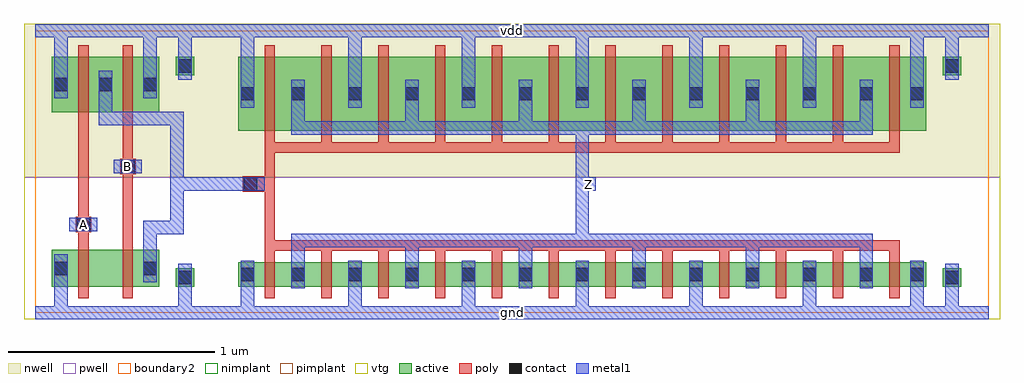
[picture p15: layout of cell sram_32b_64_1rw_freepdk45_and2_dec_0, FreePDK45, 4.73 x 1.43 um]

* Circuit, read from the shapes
.subckt sram_32b_64_1rw_freepdk45_and2_dec_0 A B Z gnd vdd
M1 sram_32b_64_1rw_freepdk45_pnand2_0/sram_32b_64_1rw_freepdk45_nmos_m1_w0_180_sm1_dactive_2/D A gnd gnd nfet w=0.18u l=0.05u
M2 sram_32b_64_1rw_freepdk45_pinv_0_1/A B sram_32b_64_1rw_freepdk45_pnand2_0/sram_32b_64_1rw_freepdk45_nmos_m1_w0_180_sm1_dactive_2/D gnd nfet w=0.18u l=0.05u
M3 Z sram_32b_64_1rw_freepdk45_pinv_0_1/A gnd gnd nfet w=0.12u l=0.05u m=12
M4 sram_32b_64_1rw_freepdk45_pinv_0_1/A A vdd vdd pfet w=0.27u l=0.05u
M5 vdd B sram_32b_64_1rw_freepdk45_pinv_0_1/A vdd pfet w=0.27u l=0.05u
M6 Z sram_32b_64_1rw_freepdk45_pinv_0_1/A vdd vdd pfet w=0.36u l=0.05u m=12
.ends

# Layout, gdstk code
import gdstk
lib = gdstk.Library(unit=1e-6, precision=5e-10)
def R(c, l, rs):  # rectangles x0, y0, x1, y1
    for r in rs: c.add(gdstk.rectangle(r[:2], r[2:], *l))
def A(c, l, x, y, w, h, nx, ny, dx, dy):  # array of equal rectangles
    R(c, l, [(x+i*dx, y+j*dy, x+i*dx+w, y+j*dy+h) for i in range(nx) for j in range(ny)])
active = (1, 0)
pwell = (2, 0)
nwell = (3, 0)
nimplant = (4, 0)
pimplant = (5, 0)
vtg = (6, 0)
poly = (9, 0)
contact = (10, 0)
metal1 = (11, 0)
boundary2 = (239, 0)

sram_32b_64_1rw_freepdk4 = lib.new_cell('sram_32b_64_1rw_freepdk45_contact_11')
R(sram_32b_64_1rw_freepdk4, active, [(0,0.0225,0.09,0.1125)])
R(sram_32b_64_1rw_freepdk4, nwell, [(-0.055,-0.0325,0.145,0.1675)])
R(sram_32b_64_1rw_freepdk4, pimplant, [(0,0.0225,0.09,0.1125)])
R(sram_32b_64_1rw_freepdk4, contact, [(0.0125,0.035,0.0775,0.1)])
R(sram_32b_64_1rw_freepdk4, metal1, [(0.0125,0,0.0775,0.135)])
R(sram_32b_64_1rw_freepdk4, boundary2, [(-0.055,-0.0325,0.145,0.1675)])

c_sram_32b_64_1rw_freepdk4 = lib.new_cell('sram_32b_64_1rw_freepdk45_pmos_m1_w0_270_sm1_dm1')
R(c_sram_32b_64_1rw_freepdk4, active, [(0,0,0.305,0.27)])
R(c_sram_32b_64_1rw_freepdk4, nwell, [(-0.08,-0.08,0.385,0.35)])
R(c_sram_32b_64_1rw_freepdk4, pimplant, [(0,0,0.305,0.27)])
R(c_sram_32b_64_1rw_freepdk4, vtg, [(-0.08,-0.08,0.385,0.35)])
R(c_sram_32b_64_1rw_freepdk4, poly, [(0.1275,-0.055,0.1775,0.325), (0.1275,-0.055,0.1775,0.325)])
R(c_sram_32b_64_1rw_freepdk4, metal1, [(0.0125,0.0675,0.0775,0.2025), (0.2275,0.0675,0.2925,0.2025)])
R(c_sram_32b_64_1rw_freepdk4, boundary2, [(-0.08,-0.08,0.385,0.35)])
c_sram_32b_64_1rw_freepdk4.add(gdstk.Reference(sram_32b_64_1rw_freepdk4, (0,0.0675)))
c_sram_32b_64_1rw_freepdk4.add(gdstk.Reference(sram_32b_64_1rw_freepdk4, (0.215,0.0675)))
c_sram_32b_64_1rw_freepdk4.add(gdstk.Label('G', (0.1525,0.135), layer=9, texttype=0))
c_sram_32b_64_1rw_freepdk4.add(gdstk.Label('S', (0.045,0.135), layer=11, texttype=0))
c_sram_32b_64_1rw_freepdk4.add(gdstk.Label('D', (0.26,0.135), layer=11, texttype=0))

c_sram_32b_64_1rw_freepdk4_ = lib.new_cell('sram_32b_64_1rw_freepdk45_contact_10')
R(c_sram_32b_64_1rw_freepdk4_, active, [(0,0.0225,0.09,0.1125)])
R(c_sram_32b_64_1rw_freepdk4_, pwell, [(-0.055,-0.0325,0.145,0.1675)])
R(c_sram_32b_64_1rw_freepdk4_, nimplant, [(0,0.0225,0.09,0.1125)])
R(c_sram_32b_64_1rw_freepdk4_, contact, [(0.0125,0.035,0.0775,0.1)])
R(c_sram_32b_64_1rw_freepdk4_, metal1, [(0.0125,0,0.0775,0.135)])
R(c_sram_32b_64_1rw_freepdk4_, boundary2, [(-0.055,-0.0325,0.145,0.1675)])

c_sram_32b_64_1rw_freepdk4__ = lib.new_cell('sram_32b_64_1rw_freepdk45_nmos_m1_w0_180_sm1_dactive')
R(c_sram_32b_64_1rw_freepdk4__, active, [(0,0,0.305,0.18), (0.215,0.045,0.305,0.135)])
R(c_sram_32b_64_1rw_freepdk4__, pwell, [(-0.08,-0.08,0.385,0.26)])
R(c_sram_32b_64_1rw_freepdk4__, nimplant, [(0,0,0.305,0.18)])
R(c_sram_32b_64_1rw_freepdk4__, vtg, [(-0.08,-0.08,0.385,0.26)])
R(c_sram_32b_64_1rw_freepdk4__, poly, [(0.1275,-0.055,0.1775,0.235), (0.1275,-0.055,0.1775,0.235)])
R(c_sram_32b_64_1rw_freepdk4__, metal1, [(0.0125,0.0225,0.0775,0.1575)])
R(c_sram_32b_64_1rw_freepdk4__, boundary2, [(-0.08,-0.08,0.385,0.26)])
c_sram_32b_64_1rw_freepdk4__.add(gdstk.Reference(c_sram_32b_64_1rw_freepdk4_, (0,0.0225)))
c_sram_32b_64_1rw_freepdk4__.add(gdstk.Label('G', (0.1525,0.09), layer=9, texttype=0))
c_sram_32b_64_1rw_freepdk4__.add(gdstk.Label('S', (0.045,0.09), layer=11, texttype=0))
c_sram_32b_64_1rw_freepdk4__.add(gdstk.Label('D', (0.26,0.09), layer=1, texttype=0))

c_sram_32b_64_1rw_freepdk4___ = lib.new_cell('sram_32b_64_1rw_freepdk45_nmos_m1_w0_180_sactive_dm1')
R(c_sram_32b_64_1rw_freepdk4___, active, [(0,0,0.305,0.18), (0,0.045,0.09,0.135)])
R(c_sram_32b_64_1rw_freepdk4___, pwell, [(-0.08,-0.08,0.385,0.26)])
R(c_sram_32b_64_1rw_freepdk4___, nimplant, [(0,0,0.305,0.18)])
R(c_sram_32b_64_1rw_freepdk4___, vtg, [(-0.08,-0.08,0.385,0.26)])
R(c_sram_32b_64_1rw_freepdk4___, poly, [(0.1275,-0.055,0.1775,0.235), (0.1275,-0.055,0.1775,0.235)])
R(c_sram_32b_64_1rw_freepdk4___, metal1, [(0.2275,0.0225,0.2925,0.1575)])
R(c_sram_32b_64_1rw_freepdk4___, boundary2, [(-0.08,-0.08,0.385,0.26)])
c_sram_32b_64_1rw_freepdk4___.add(gdstk.Reference(c_sram_32b_64_1rw_freepdk4_, (0.215,0.0225)))
c_sram_32b_64_1rw_freepdk4___.add(gdstk.Label('G', (0.1525,0.09), layer=9, texttype=0))
c_sram_32b_64_1rw_freepdk4___.add(gdstk.Label('S', (0.045,0.09), layer=1, texttype=0))
c_sram_32b_64_1rw_freepdk4___.add(gdstk.Label('D', (0.26,0.09), layer=11, texttype=0))

c_sram_32b_64_1rw_freepdk4____ = lib.new_cell('sram_32b_64_1rw_freepdk45_contact_12')
R(c_sram_32b_64_1rw_freepdk4____, active, [(0,0.0225,0.09,0.1125)])
R(c_sram_32b_64_1rw_freepdk4____, nwell, [(-0.055,-0.0325,0.145,0.1675)])
R(c_sram_32b_64_1rw_freepdk4____, nimplant, [(0,0.0225,0.09,0.1125)])
R(c_sram_32b_64_1rw_freepdk4____, contact, [(0.0125,0.035,0.0775,0.1)])
R(c_sram_32b_64_1rw_freepdk4____, metal1, [(0.0125,0,0.0775,0.135)])
R(c_sram_32b_64_1rw_freepdk4____, boundary2, [(-0.055,-0.0325,0.145,0.1675)])

c_sram_32b_64_1rw_freepdk4_____ = lib.new_cell('sram_32b_64_1rw_freepdk45_contact_13')
R(c_sram_32b_64_1rw_freepdk4_____, active, [(0,0.0225,0.09,0.1125)])
R(c_sram_32b_64_1rw_freepdk4_____, pwell, [(-0.055,-0.0325,0.145,0.1675)])
R(c_sram_32b_64_1rw_freepdk4_____, pimplant, [(0,0.0225,0.09,0.1125)])
R(c_sram_32b_64_1rw_freepdk4_____, contact, [(0.0125,0.035,0.0775,0.1)])
R(c_sram_32b_64_1rw_freepdk4_____, metal1, [(0.0125,0,0.0775,0.135)])
R(c_sram_32b_64_1rw_freepdk4_____, boundary2, [(-0.055,-0.0325,0.145,0.1675)])

c_sram_32b_64_1rw_freepdk4______ = lib.new_cell('sram_32b_64_1rw_freepdk45_contact_14')
R(c_sram_32b_64_1rw_freepdk4______, poly, [(0.03,0,0.105,0.075)])
R(c_sram_32b_64_1rw_freepdk4______, contact, [(0.035,0.005,0.1,0.07)])
R(c_sram_32b_64_1rw_freepdk4______, metal1, [(0,0.005,0.135,0.07)])
R(c_sram_32b_64_1rw_freepdk4______, boundary2, [(0,0,0.135,0.075)])

c_sram_32b_64_1rw_freepdk4_______ = lib.new_cell('sram_32b_64_1rw_freepdk45_pnand2')
R(c_sram_32b_64_1rw_freepdk4_______, pwell, [(-0.055,-0.0325,0.9575,0.655)])
R(c_sram_32b_64_1rw_freepdk4_______, nwell, [(-0.055,0.655,0.9575,1.4)])
R(c_sram_32b_64_1rw_freepdk4_______, vtg, [(-0.055,-0.0325,0.9575,0.655), (-0.055,0.655,0.9575,1.4)])
R(c_sram_32b_64_1rw_freepdk4_______, poly, [(0.2075,0.36,0.2575,0.915), (0.4225,0.36,0.4725,0.915), (0.2075,0.39,0.2325,0.465), (0.4225,0.67,0.4475,0.745)])
R(c_sram_32b_64_1rw_freepdk4_______, metal1, [(0,-0.0325,0.9025,0.0325), (0.0925,-0.0325,0.1575,0.1475), (0.6925,0,0.7575,0.17), (0.5225,0.2825,0.5875,0.4125), (0.5225,0.38,0.5875,0.445), (0.555,0.38,0.685,0.445), (0.6525,0.38,0.7175,0.445), (0.165,0.395,0.3,0.46), (0.6525,0.4125,0.7175,0.94), (0.38,0.675,0.515,0.74), (0.3075,0.9075,0.3725,0.9725), (0.34,0.9075,0.685,0.9725), (0.6525,0.9075,0.7175,0.9725), (0.3075,0.94,0.3725,1.0375), (0.0925,1.0375,0.1575,1.3975), (0.5225,1.0375,0.5875,1.3975), (0.6925,1.195,0.7575,1.365), (0,1.3325,0.9025,1.3975)])
R(c_sram_32b_64_1rw_freepdk4_______, boundary2, [(0,0,0.9025,1.365), (0,0,0.9025,1.365)])
c_sram_32b_64_1rw_freepdk4_______.add(gdstk.Reference(c_sram_32b_64_1rw_freepdk4, (0.08,0.97)))
c_sram_32b_64_1rw_freepdk4_______.add(gdstk.Reference(c_sram_32b_64_1rw_freepdk4, (0.295,0.97)))
c_sram_32b_64_1rw_freepdk4_______.add(gdstk.Reference(c_sram_32b_64_1rw_freepdk4__, (0.08,0.125)))
c_sram_32b_64_1rw_freepdk4_______.add(gdstk.Reference(c_sram_32b_64_1rw_freepdk4___, (0.295,0.125)))
c_sram_32b_64_1rw_freepdk4_______.add(gdstk.Reference(c_sram_32b_64_1rw_freepdk4____, (0.68,1.1275)))
c_sram_32b_64_1rw_freepdk4_______.add(gdstk.Reference(c_sram_32b_64_1rw_freepdk4_____, (0.68,0.1025)))
c_sram_32b_64_1rw_freepdk4_______.add(gdstk.Reference(c_sram_32b_64_1rw_freepdk4______, (0.165,0.39)))
c_sram_32b_64_1rw_freepdk4_______.add(gdstk.Reference(c_sram_32b_64_1rw_freepdk4______, (0.38,0.67)))
c_sram_32b_64_1rw_freepdk4_______.add(gdstk.Label('Z', (0.685,0.94), layer=11, texttype=0))
c_sram_32b_64_1rw_freepdk4_______.add(gdstk.Label('gnd', (0.451,0), layer=11, texttype=0))
c_sram_32b_64_1rw_freepdk4_______.add(gdstk.Label('vdd', (0.451,1.365), layer=11, texttype=0))
c_sram_32b_64_1rw_freepdk4_______.add(gdstk.Label('A', (0.2325,0.4275), layer=11, texttype=0))
c_sram_32b_64_1rw_freepdk4_______.add(gdstk.Label('B', (0.4475,0.7075), layer=11, texttype=0))

c_sram_32b_64_1rw_freepdk4________ = lib.new_cell('sram_32b_64_1rw_freepdk45_pmos_m12_w0_360_sm1_dm1_da_p')
R(c_sram_32b_64_1rw_freepdk4________, active, [(0,0,3.33,0.36)])
R(c_sram_32b_64_1rw_freepdk4________, nwell, [(-0.08,-0.08,3.41,0.44)])
R(c_sram_32b_64_1rw_freepdk4________, pimplant, [(0,0,3.33,0.36)])
R(c_sram_32b_64_1rw_freepdk4________, vtg, [(-0.08,-0.08,3.41,0.44)])
A(c_sram_32b_64_1rw_freepdk4________, poly, 0.1275, -0.055, 0.05, 0.47, 12, 1, 0.275, 0)
R(c_sram_32b_64_1rw_freepdk4________, poly, [(0.1275,-0.105,3.2025,-0.055)])
A(c_sram_32b_64_1rw_freepdk4________, metal1, 0.2575, 0.015, 0.065, 0.165, 6, 1, 0.55, 0)
A(c_sram_32b_64_1rw_freepdk4________, metal1, 0.5325, 0.1125, 0.065, 0.135, 5, 1, 0.55, 0)
R(c_sram_32b_64_1rw_freepdk4________, metal1, [(0.2575,-0.0175,3.0725,0.0475), (0.0125,0.1125,0.0775,0.2475), (3.2525,0.1125,3.3175,0.2475)])
R(c_sram_32b_64_1rw_freepdk4________, boundary2, [(-0.08,-0.105,3.41,0.44)])
c_sram_32b_64_1rw_freepdk4________.add(gdstk.Reference(sram_32b_64_1rw_freepdk4, (0,0.1125)))
c_sram_32b_64_1rw_freepdk4________.add(gdstk.Reference(sram_32b_64_1rw_freepdk4, (0.245,0.1125)))
c_sram_32b_64_1rw_freepdk4________.add(gdstk.Reference(sram_32b_64_1rw_freepdk4, (0.52,0.1125)))
c_sram_32b_64_1rw_freepdk4________.add(gdstk.Reference(sram_32b_64_1rw_freepdk4, (0.795,0.1125)))
c_sram_32b_64_1rw_freepdk4________.add(gdstk.Reference(sram_32b_64_1rw_freepdk4, (1.07,0.1125)))
c_sram_32b_64_1rw_freepdk4________.add(gdstk.Reference(sram_32b_64_1rw_freepdk4, (1.345,0.1125)))
c_sram_32b_64_1rw_freepdk4________.add(gdstk.Reference(sram_32b_64_1rw_freepdk4, (1.62,0.1125)))
c_sram_32b_64_1rw_freepdk4________.add(gdstk.Reference(sram_32b_64_1rw_freepdk4, (1.895,0.1125)))
c_sram_32b_64_1rw_freepdk4________.add(gdstk.Reference(sram_32b_64_1rw_freepdk4, (2.17,0.1125)))
c_sram_32b_64_1rw_freepdk4________.add(gdstk.Reference(sram_32b_64_1rw_freepdk4, (2.445,0.1125)))
c_sram_32b_64_1rw_freepdk4________.add(gdstk.Reference(sram_32b_64_1rw_freepdk4, (2.72,0.1125)))
c_sram_32b_64_1rw_freepdk4________.add(gdstk.Reference(sram_32b_64_1rw_freepdk4, (2.995,0.1125)))
c_sram_32b_64_1rw_freepdk4________.add(gdstk.Reference(sram_32b_64_1rw_freepdk4, (3.24,0.1125)))
c_sram_32b_64_1rw_freepdk4________.add(gdstk.Label('G', (1.665,-0.08), layer=9, texttype=0))
c_sram_32b_64_1rw_freepdk4________.add(gdstk.Label('S', (2.765,0.18), layer=11, texttype=0))
c_sram_32b_64_1rw_freepdk4________.add(gdstk.Label('S', (3.285,0.18), layer=11, texttype=0))
c_sram_32b_64_1rw_freepdk4________.add(gdstk.Label('S', (1.665,0.18), layer=11, texttype=0))
c_sram_32b_64_1rw_freepdk4________.add(gdstk.Label('S', (1.115,0.18), layer=11, texttype=0))
c_sram_32b_64_1rw_freepdk4________.add(gdstk.Label('S', (2.215,0.18), layer=11, texttype=0))
c_sram_32b_64_1rw_freepdk4________.add(gdstk.Label('S', (0.565,0.18), layer=11, texttype=0))
c_sram_32b_64_1rw_freepdk4________.add(gdstk.Label('S', (0.045,0.18), layer=11, texttype=0))
c_sram_32b_64_1rw_freepdk4________.add(gdstk.Label('D', (1.665,0.015), layer=11, texttype=0))

c_sram_32b_64_1rw_freepdk4_________ = lib.new_cell('sram_32b_64_1rw_freepdk45_nmos_m12_w0_120_sm1_dm1_da_p')
R(c_sram_32b_64_1rw_freepdk4_________, active, [(0,0,3.33,0.12)])
R(c_sram_32b_64_1rw_freepdk4_________, pwell, [(-0.08,-0.08,3.41,0.2)])
R(c_sram_32b_64_1rw_freepdk4_________, nimplant, [(0,0,3.33,0.12)])
R(c_sram_32b_64_1rw_freepdk4_________, vtg, [(-0.08,-0.08,3.41,0.2)])
A(c_sram_32b_64_1rw_freepdk4_________, poly, 0.1275, -0.055, 0.05, 0.23, 12, 1, 0.275, 0)
R(c_sram_32b_64_1rw_freepdk4_________, poly, [(0.1275,0.175,3.2025,0.225)])
A(c_sram_32b_64_1rw_freepdk4_________, metal1, 0.5325, -0.0075, 0.065, 0.135, 5, 1, 0.55, 0)
A(c_sram_32b_64_1rw_freepdk4_________, metal1, 0.2575, 0.06, 0.065, 0.165, 6, 1, 0.55, 0)
R(c_sram_32b_64_1rw_freepdk4_________, metal1, [(0.0125,-0.0075,0.0775,0.1275), (3.2525,-0.0075,3.3175,0.1275), (0.2575,0.1925,3.0725,0.2575)])
R(c_sram_32b_64_1rw_freepdk4_________, boundary2, [(-0.08,-0.08,3.41,0.2575)])
c_sram_32b_64_1rw_freepdk4_________.add(gdstk.Reference(c_sram_32b_64_1rw_freepdk4_, (0,-0.0075)))
c_sram_32b_64_1rw_freepdk4_________.add(gdstk.Reference(c_sram_32b_64_1rw_freepdk4_, (0.245,-0.0075)))
c_sram_32b_64_1rw_freepdk4_________.add(gdstk.Reference(c_sram_32b_64_1rw_freepdk4_, (0.52,-0.0075)))
c_sram_32b_64_1rw_freepdk4_________.add(gdstk.Reference(c_sram_32b_64_1rw_freepdk4_, (0.795,-0.0075)))
c_sram_32b_64_1rw_freepdk4_________.add(gdstk.Reference(c_sram_32b_64_1rw_freepdk4_, (1.07,-0.0075)))
c_sram_32b_64_1rw_freepdk4_________.add(gdstk.Reference(c_sram_32b_64_1rw_freepdk4_, (1.345,-0.0075)))
c_sram_32b_64_1rw_freepdk4_________.add(gdstk.Reference(c_sram_32b_64_1rw_freepdk4_, (1.62,-0.0075)))
c_sram_32b_64_1rw_freepdk4_________.add(gdstk.Reference(c_sram_32b_64_1rw_freepdk4_, (1.895,-0.0075)))
c_sram_32b_64_1rw_freepdk4_________.add(gdstk.Reference(c_sram_32b_64_1rw_freepdk4_, (2.17,-0.0075)))
c_sram_32b_64_1rw_freepdk4_________.add(gdstk.Reference(c_sram_32b_64_1rw_freepdk4_, (2.445,-0.0075)))
c_sram_32b_64_1rw_freepdk4_________.add(gdstk.Reference(c_sram_32b_64_1rw_freepdk4_, (2.72,-0.0075)))
c_sram_32b_64_1rw_freepdk4_________.add(gdstk.Reference(c_sram_32b_64_1rw_freepdk4_, (2.995,-0.0075)))
c_sram_32b_64_1rw_freepdk4_________.add(gdstk.Reference(c_sram_32b_64_1rw_freepdk4_, (3.24,-0.0075)))
c_sram_32b_64_1rw_freepdk4_________.add(gdstk.Label('G', (1.665,0.2), layer=9, texttype=0))
c_sram_32b_64_1rw_freepdk4_________.add(gdstk.Label('S', (0.565,0.06), layer=11, texttype=0))
c_sram_32b_64_1rw_freepdk4_________.add(gdstk.Label('S', (2.215,0.06), layer=11, texttype=0))
c_sram_32b_64_1rw_freepdk4_________.add(gdstk.Label('S', (0.045,0.06), layer=11, texttype=0))
c_sram_32b_64_1rw_freepdk4_________.add(gdstk.Label('S', (1.115,0.06), layer=11, texttype=0))
c_sram_32b_64_1rw_freepdk4_________.add(gdstk.Label('S', (1.665,0.06), layer=11, texttype=0))
c_sram_32b_64_1rw_freepdk4_________.add(gdstk.Label('S', (3.285,0.06), layer=11, texttype=0))
c_sram_32b_64_1rw_freepdk4_________.add(gdstk.Label('S', (2.765,0.06), layer=11, texttype=0))
c_sram_32b_64_1rw_freepdk4_________.add(gdstk.Label('D', (1.665,0.225), layer=11, texttype=0))

c_sram_32b_64_1rw_freepdk4__________ = lib.new_cell('sram_32b_64_1rw_freepdk45_pinv_0')
R(c_sram_32b_64_1rw_freepdk4__________, pwell, [(-0.055,-0.0325,3.7675,0.655)])
R(c_sram_32b_64_1rw_freepdk4__________, nwell, [(-0.055,0.655,3.7675,1.4)])
R(c_sram_32b_64_1rw_freepdk4__________, vtg, [(-0.055,-0.0325,3.7675,0.655), (-0.055,0.655,3.7675,1.4)])
R(c_sram_32b_64_1rw_freepdk4__________, poly, [(0.2075,0.35,0.2575,0.775), (0.14,0.585,0.2075,0.66)])
A(c_sram_32b_64_1rw_freepdk4__________, metal1, 0.6125, -0.0325, 0.065, 0.15, 5, 1, 0.55, 0)
A(c_sram_32b_64_1rw_freepdk4__________, metal1, 0.6125, 0.9925, 0.065, 0.405, 5, 1, 0.55, 0)
R(c_sram_32b_64_1rw_freepdk4__________, metal1, [(0,-0.0325,3.7125,0.0325), (0.0925,-0.0325,0.1575,0.1175), (3.3325,-0.0325,3.3975,0.1175), (3.5025,0,3.5675,0.17), (1.7125,0.3175,1.7775,0.9275), (0.0725,0.59,0.2075,0.655), (1.745,0.59,1.81,0.655), (0.0925,0.9925,0.1575,1.3975), (3.3325,0.9925,3.3975,1.3975), (3.5025,1.195,3.5675,1.365), (0,1.3325,3.7125,1.3975)])
R(c_sram_32b_64_1rw_freepdk4__________, boundary2, [(0,0,3.7125,1.365), (0,0,3.7125,1.365)])
c_sram_32b_64_1rw_freepdk4__________.add(gdstk.Reference(c_sram_32b_64_1rw_freepdk4________, (0.08,0.88)))
c_sram_32b_64_1rw_freepdk4__________.add(gdstk.Reference(c_sram_32b_64_1rw_freepdk4_________, (0.08,0.125)))
c_sram_32b_64_1rw_freepdk4__________.add(gdstk.Reference(c_sram_32b_64_1rw_freepdk4____, (3.49,1.1275)))
c_sram_32b_64_1rw_freepdk4__________.add(gdstk.Reference(c_sram_32b_64_1rw_freepdk4_____, (3.49,0.1025)))
c_sram_32b_64_1rw_freepdk4__________.add(gdstk.Reference(c_sram_32b_64_1rw_freepdk4______, (0.0725,0.585)))
c_sram_32b_64_1rw_freepdk4__________.add(gdstk.Label('A', (0.14,0.6225), layer=11, texttype=0))
c_sram_32b_64_1rw_freepdk4__________.add(gdstk.Label('Z', (1.7775,0.6225), layer=11, texttype=0))
c_sram_32b_64_1rw_freepdk4__________.add(gdstk.Label('gnd', (1.856,0), layer=11, texttype=0))
c_sram_32b_64_1rw_freepdk4__________.add(gdstk.Label('vdd', (1.856,1.365), layer=11, texttype=0))

c_sram_32b_64_1rw_freepdk4___________ = lib.new_cell('sram_32b_64_1rw_freepdk45_and2_dec_0')
R(c_sram_32b_64_1rw_freepdk4___________, metal1, [(0,-0.0325,4.615,0.0325), (0.165,0.395,0.3,0.46), (0.6525,0.59,0.7175,0.655), (0.685,0.59,1.0425,0.655), (2.6475,0.59,2.7125,0.655), (0.6525,0.6225,0.7175,0.94), (0.38,0.675,0.515,0.74), (0,1.3325,4.615,1.3975)])
R(c_sram_32b_64_1rw_freepdk4___________, boundary2, [(0,0,4.615,1.365)])
c_sram_32b_64_1rw_freepdk4___________.add(gdstk.Reference(c_sram_32b_64_1rw_freepdk4_______, (0,0)))
c_sram_32b_64_1rw_freepdk4___________.add(gdstk.Reference(c_sram_32b_64_1rw_freepdk4__________, (0.9025,0)))
c_sram_32b_64_1rw_freepdk4___________.add(gdstk.Label('Z', (2.68,0.6225), layer=11, texttype=0))
c_sram_32b_64_1rw_freepdk4___________.add(gdstk.Label('A', (0.2325,0.4275), layer=11, texttype=0))
c_sram_32b_64_1rw_freepdk4___________.add(gdstk.Label('B', (0.4475,0.7075), layer=11, texttype=0))
c_sram_32b_64_1rw_freepdk4___________.add(gdstk.Label('gnd', (2.3075,0), layer=11, texttype=0))
c_sram_32b_64_1rw_freepdk4___________.add(gdstk.Label('vdd', (2.3075,1.365), layer=11, texttype=0))

lib.write_gds('sram_32b_64_1rw_freepdk45_and2_dec_0.gds')
